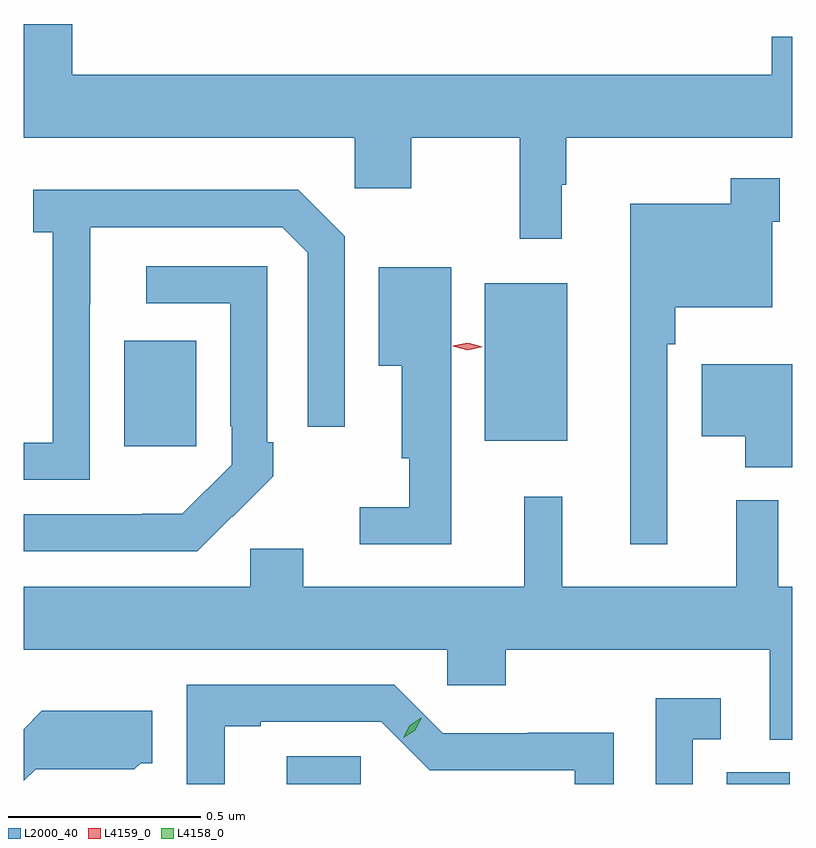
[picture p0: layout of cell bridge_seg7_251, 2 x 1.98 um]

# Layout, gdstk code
import gdstk
lib = gdstk.Library(unit=1e-6, precision=1e-09)
def R(c, l, rs):  # rectangles x0, y0, x1, y1
    for r in rs: c.add(gdstk.rectangle(r[:2], r[2:], *l))
def P(c, l, *ps):  # polygons
    for p in ps: c.add(gdstk.Polygon(p, *l))
L2000_40 = (2000, 40)
L4158_0 = (4158, 0)
L4159_0 = (4159, 0)

bridge_seg7_251 = lib.new_cell('bridge_seg7_251')
R(bridge_seg7_251, L2000_40, [(182.157,1056.21,182.349,1056.282), (183.302,1056.21,183.466,1056.24), (181.733,1057.089,181.921,1057.363), (182.672,1057.103,182.887,1057.513)])
P(bridge_seg7_251, L2000_40, [(182.872,1057.769),(182.884,1057.769),(182.884,1057.892),(183.472,1057.892),(183.472,1058.155),(183.419,1058.155),(183.419,1058.056),(181.598,1058.056),(181.598,1058.188),(181.472,1058.188),(181.472,1057.892),(182.334,1057.892),(182.334,1057.761),(182.481,1057.761),(182.481,1057.892),(182.763,1057.892),(182.763,1057.629),(182.872,1057.629)],
  [(183.147,1057.355),(183.167,1057.355),(183.167,1057.451),(183.42,1057.451),(183.42,1057.673),(183.44,1057.673),(183.44,1057.786),(183.312,1057.786),(183.312,1057.72),(183.05,1057.72),(183.05,1056.834),(183.147,1056.834)],
  [(181.644,1057.459),(181.645,1057.459),(181.645,1057.659),(182.145,1057.659),(182.211,1057.593),(182.211,1057.14),(182.307,1057.14),(182.307,1057.635),(182.186,1057.756),(181.497,1057.756),(181.497,1057.646),(181.548,1057.646),(181.548,1057.098),(181.472,1057.098),(181.472,1057.002),(181.644,1057.002)],
  [(182.015,1056.907),(182.016,1056.906),(182.121,1057.011),(182.121,1057.099),(182.106,1057.099),(182.106,1057.557),(181.791,1057.557),(181.791,1057.461),(182.01,1057.461),(182.01,1057.141),(182.013,1057.141),(182.013,1057.041),(181.885,1056.913),(181.781,1056.913),(181.781,1056.912),(181.472,1056.912),(181.472,1056.816),(181.924,1056.816)],
  [(182.585,1057.162),(182.584,1057.162),(182.584,1057.555),(182.396,1057.555),(182.396,1057.298),(182.456,1057.298),(182.456,1057.058),(182.475,1057.058),(182.475,1056.93),(182.346,1056.93),(182.346,1056.834),(182.585,1056.834)],
  [(183.472,1057.303),(183.236,1057.303),(183.236,1057.115),(183.35,1057.115),(183.35,1057.034),(183.472,1057.034)],
  [(183.472,1056.724),(183.436,1056.724),(183.436,1056.949),(183.326,1056.949),(183.326,1056.724),(182.873,1056.724),(182.873,1056.958),(182.774,1056.958),(182.774,1056.724),(182.2,1056.724),(182.2,1056.822),(182.061,1056.822),(182.061,1056.724),(181.472,1056.724),(181.472,1056.56),(182.574,1056.56),(182.574,1056.467),(182.726,1056.467),(182.726,1056.56),(183.413,1056.56),(183.413,1056.325),(183.472,1056.325)],
  [(181.995,1056.36),(182.089,1056.36),(182.089,1056.372),(182.403,1056.372),(182.529,1056.246),(182.906,1056.246),(182.906,1056.21),(183.007,1056.21),(183.007,1056.344),(182.784,1056.344),(182.784,1056.342),(182.562,1056.342),(182.436,1056.468),(181.896,1056.468),(181.896,1056.21),(181.995,1056.21)],
  [(183.213,1056.327),(183.286,1056.327),(183.286,1056.433),(183.117,1056.433),(183.117,1056.21),(183.213,1056.21)],
  [(181.503,1056.249),(181.626,1056.249),(181.626,1056.248),(181.76,1056.248),(181.776,1056.264),(181.807,1056.264),(181.807,1056.4),(181.519,1056.4),(181.472,1056.352),(181.472,1056.218)])
P(bridge_seg7_251, L4158_0, [(182.459,1056.33),(182.459,1056.33),(182.476,1056.363),(182.507,1056.382),(182.508,1056.382),(182.508,1056.382),(182.49,1056.349),(182.459,1056.33)])
P(bridge_seg7_251, L4159_0, [(182.627,1057.339),(182.588,1057.349),(182.588,1057.349),(182.588,1057.35),(182.627,1057.359),(182.666,1057.348),(182.666,1057.348),(182.666,1057.348)])

lib.write_gds('bridge_seg7_251.gds')
